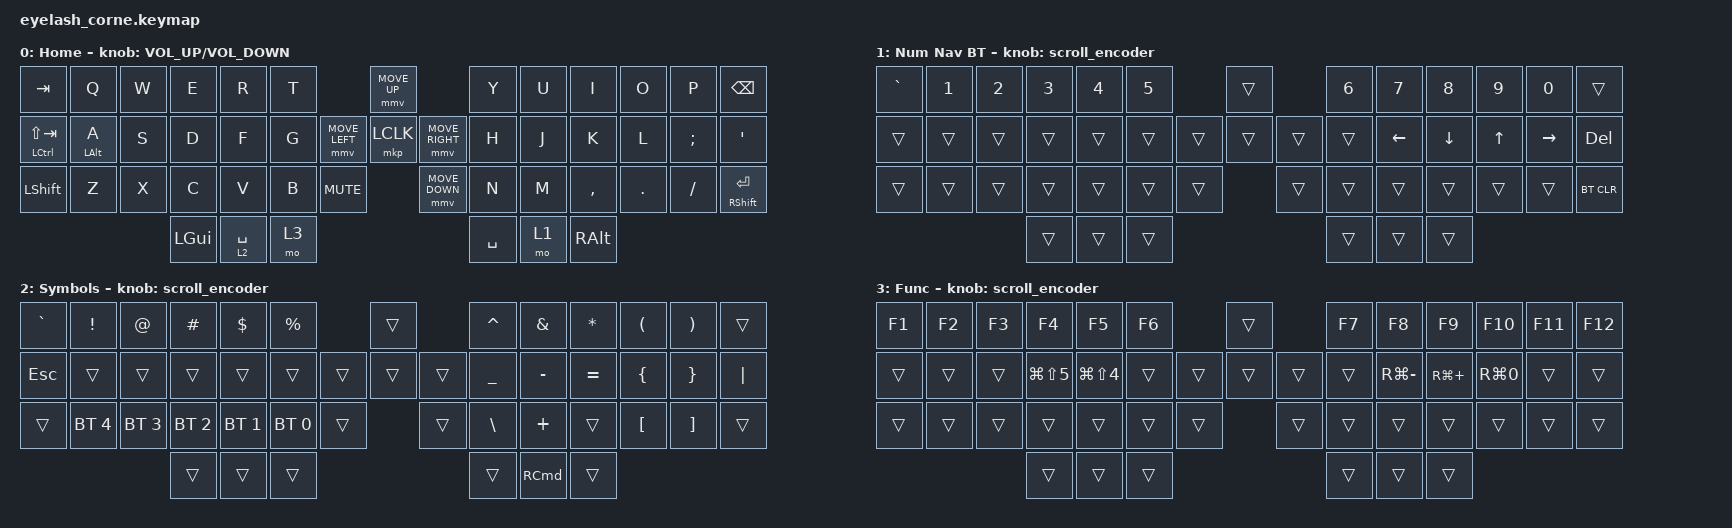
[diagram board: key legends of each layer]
#define ZMK_POINTING_DEFAULT_MOVE_VAL 1200  // 600
#define ZMK_POINTING_DEFAULT_SCRL_VAL 25   // 10

#include <input/processors.dtsi>
#include <zephyr/dt-bindings/input/input-event-codes.h>
#include <behaviors.dtsi>
#include <dt-bindings/zmk/bt.h>
#include <dt-bindings/zmk/keys.h>
#include <dt-bindings/zmk/pointing.h>
#include <dt-bindings/zmk/rgb.h>

&mmv_input_listener { input-processors = <&zip_xy_scaler 2 1>; };

&msc_input_listener { input-processors = <&zip_scroll_scaler 2 1>; };

&msc {
    acceleration-exponent = <1>;      // 0
    time-to-max-speed-ms = <100>;       // 300
    delay-ms = <0>;                   // 0
};

&mmv {
    time-to-max-speed-ms = <500>;
    acceleration-exponent = <1>;
    trigger-period-ms = <16>;
};

/ {
    behaviors {
        td0: td0 {
            compatible = "zmk,behavior-tap-dance";
            display-name = "Shift/Caps Lock Tap Dance";
            #binding-cells = <0>;
            bindings = <&kp LEFT_SHIFT>, <&kp CAPS>;
        };

        QHT: QHT {
            compatible = "zmk,behavior-hold-tap";
            label = "QHT";
            bindings = <&kp>, <&kp>;

            #binding-cells = <2>;
            tapping-term-ms = <150>;
        };

        LHT: LHT {
            compatible = "zmk,behavior-hold-tap";
            label = "LHT";
            bindings = <&kp>, <&kp>;

            #binding-cells = <2>;
            tapping-term-ms = <280>;
            flavor = "tap-preferred";
        };

        QLHT: QLHT {
            compatible = "zmk,behavior-hold-tap";
            label = "QLHT";
            bindings = <&mo>, <&kp>;

            #binding-cells = <2>;
            tapping-term-ms = <150>;
        };
    };

    rgb_encoder: rgb_encoder {
        compatible = "zmk,behavior-sensor-rotate";
        #sensor-binding-cells = <0>;
        bindings = <&rgb_ug RGB_BRI>, <&rgb_ug RGB_BRD>;
    };

    scroll_encoder: scroll_encoder {
        compatible = "zmk,behavior-sensor-rotate";
        #sensor-binding-cells = <0>;
        bindings = <&msc SCRL_DOWN>, <&msc SCRL_UP>;

        tap-ms = <100>;
    };

    keymap {
        compatible = "zmk,keymap";

        Home {
            display-name = "Home";
            bindings = <
&kp TAB                    &kp Q            &kp W  &kp E     &kp R          &kp T                                &mmv MOVE_UP                     &kp Y      &kp U  &kp I      &kp O    &kp P     &kp BSPC
&QHT LEFT_CONTROL LS(TAB)  &LHT LEFT_ALT A  &kp S  &kp D     &kp F          &kp G                &mmv MOVE_LEFT  &mkp LCLK       &mmv MOVE_RIGHT  &kp H      &kp J  &kp K      &kp L    &kp SEMI  &kp SQT
&kp LEFT_SHIFT             &kp Z            &kp X  &kp C     &kp V          &kp B  &kp C_MUTE                    &mmv MOVE_DOWN                   &kp N      &kp M  &kp COMMA  &kp DOT  &kp FSLH  &QHT RIGHT_SHIFT ENTER
                                                   &kp LGUI  &QLHT 2 SPACE  &mo 3                                                                 &kp SPACE  &mo 1  &kp RALT
            >;

            sensor-bindings = <&inc_dec_kp C_VOLUME_UP C_VOLUME_DOWN>;
        };

        Num_Nav_BT {
            display-name = "Num Nav BT";
            bindings = <
&kp GRAVE  &kp N1  &kp N2  &kp N3  &kp N4  &kp N5                    &trans          &kp N6  &kp N7    &kp N8    &kp N9        &kp N0     &trans
&trans     &trans  &trans  &trans  &trans  &trans            &trans  &trans  &trans  &trans  &kp LEFT  &kp DOWN  &kp UP_ARROW  &kp RIGHT  &kp DELETE
&trans     &trans  &trans  &trans  &trans  &trans  &trans            &trans          &trans  &trans    &trans    &trans        &trans     &bt BT_CLR
                           &trans  &trans  &trans                                    &trans  &trans    &trans
            >;

            sensor-bindings = <&scroll_encoder>;
        };

        Symbols {
            display-name = "Symbols";
            bindings = <
&kp GRAVE   &kp EXCL      &kp AT        &kp HASH      &kp DLLR      &kp PRCNT                       &trans          &kp CARET       &kp AMPS           &kp ASTRK  &kp LPAR          &kp RPAR           &trans
&kp ESCAPE  &trans        &trans        &trans        &trans        &trans                  &trans  &trans  &trans  &kp UNDERSCORE  &kp MINUS          &kp EQUAL  &kp LEFT_BRACE    &kp RIGHT_BRACE    &kp PIPE
&trans      &bt BT_SEL 4  &bt BT_SEL 3  &bt BT_SEL 2  &bt BT_SEL 1  &bt BT_SEL 0  &trans            &trans          &kp BACKSLASH   &kp PLUS           &trans     &kp LEFT_BRACKET  &kp RIGHT_BRACKET  &trans
                                        &trans        &trans        &trans                                          &trans          &kp RIGHT_COMMAND  &trans
            >;

            sensor-bindings = <&scroll_encoder>;
        };

        Func {
            display-name = "Func";
            bindings = <
&kp F1  &kp F2  &kp F3  &kp F4          &kp F5                &kp F6                    &trans          &kp F7  &kp F8         &kp F9        &kp F10           &kp F11  &kp F12
&trans  &trans  &trans  &kp LG(LS(N5))  &kp LG(LS(NUMBER_4))  &trans            &trans  &trans  &trans  &trans  &kp RG(MINUS)  &kp RG(PLUS)  &kp RG(NUMBER_0)  &trans   &trans
&trans  &trans  &trans  &trans          &trans                &trans  &trans            &trans          &trans  &trans         &trans        &trans            &trans   &trans
                        &trans          &trans                &trans                                    &trans  &trans         &trans
            >;

            sensor-bindings = <&scroll_encoder>;
        };
    };
};
